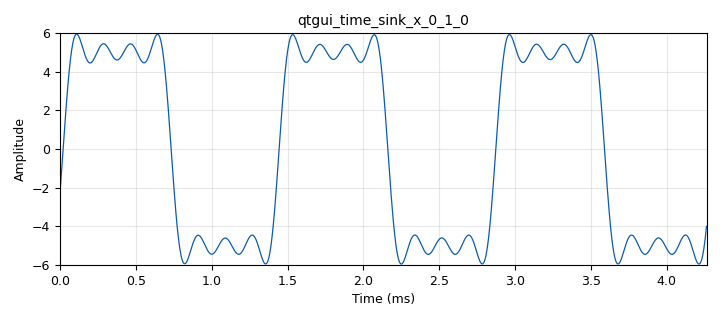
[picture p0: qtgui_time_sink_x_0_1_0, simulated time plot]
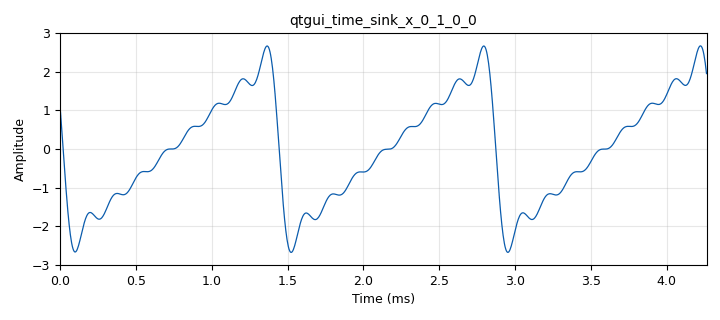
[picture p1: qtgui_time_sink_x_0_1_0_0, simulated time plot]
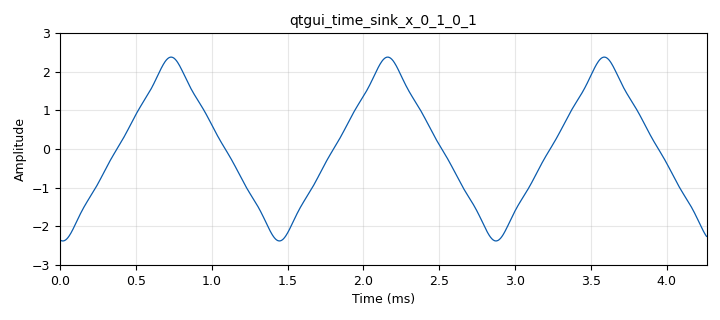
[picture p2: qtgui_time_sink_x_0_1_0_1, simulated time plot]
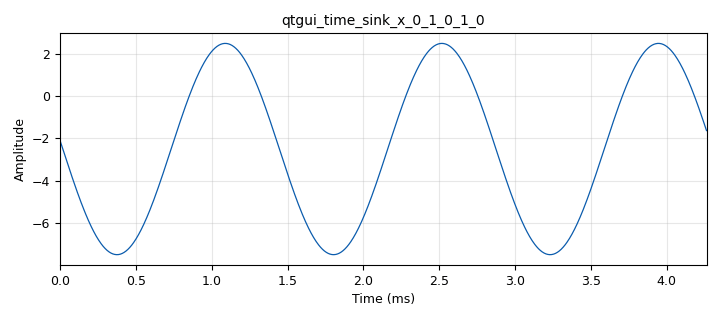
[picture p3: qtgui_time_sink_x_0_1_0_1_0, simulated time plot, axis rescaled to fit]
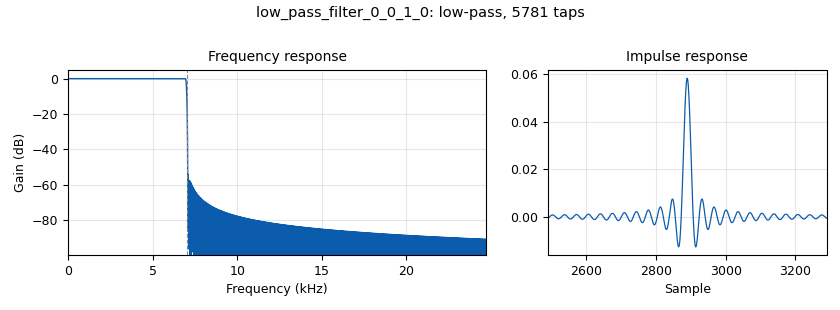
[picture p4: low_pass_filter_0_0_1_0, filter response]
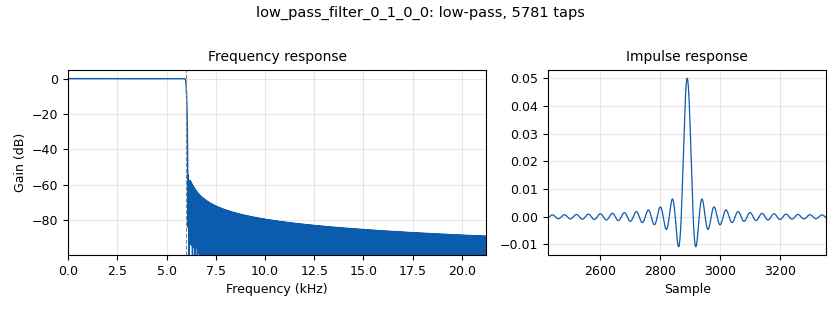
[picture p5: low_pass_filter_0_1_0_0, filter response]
options:
  parameters:
    author: lucas
    generate_options: qt_gui
    id: projeto
    output_language: python
    title: Not titled yet
  states: {}

blocks:
- name: amp
  id: variable_qtgui_range
  parameters:
    start: '0.1'
    step: '1'
    stop: '5'
    value: '5'
  states: {}
- name: amp2
  id: variable_qtgui_range
  parameters:
    start: '0'
    step: '1'
    stop: '5'
    value: '1'
  states: {}
- name: cut
  id: variable_qtgui_range
  parameters:
    start: '0'
    step: '100'
    stop: '14000'
    value: '6000'
  states: {}
- name: freq
  id: variable_qtgui_range
  parameters:
    start: '0'
    step: '100'
    stop: '1000'
    value: '700'
  states: {}
- name: samp_rate
  id: variable
  parameters:
    value: '240000'
  states: {}
- name: analog_sig_source_x_0_0_0_0
  id: analog_sig_source_x
  parameters:
    amp: '2'
    freq: freq
    offset: '-1'
    phase: '0'
    samp_rate: samp_rate
    type: float
    waveform: analog.GR_SAW_WAVE
  states: {}
- name: analog_sig_source_x_0_1_0_0_0
  id: analog_sig_source_x
  parameters:
    amp: amp
    freq: '190000'
    offset: '0'
    phase: '0'
    samp_rate: samp_rate
    type: float
    waveform: analog.GR_COS_WAVE
  states: {}
- name: analog_sig_source_x_0_1_0_0_0_0
  id: analog_sig_source_x
  parameters:
    amp: amp
    freq: '160000'
    offset: '0'
    phase: '0'
    samp_rate: samp_rate
    type: float
    waveform: analog.GR_COS_WAVE
  states: {}
- name: analog_sig_source_x_0_1_2_0_0
  id: analog_sig_source_x
  parameters:
    amp: amp2
    freq: '120000'
    offset: '0'
    phase: '0'
    samp_rate: samp_rate
    type: float
    waveform: analog.GR_COS_WAVE
  states: {}
- name: analog_sig_source_x_0_1_2_0_0_0
  id: analog_sig_source_x
  parameters:
    amp: amp2
    freq: '190000'
    offset: '0'
    phase: '0'
    samp_rate: samp_rate
    type: float
    waveform: analog.GR_COS_WAVE
  states: {}
- name: analog_sig_source_x_0_1_2_0_0_1
  id: analog_sig_source_x
  parameters:
    amp: amp2
    freq: '100000'
    offset: '0'
    phase: '0'
    samp_rate: samp_rate
    type: float
    waveform: analog.GR_COS_WAVE
  states: {}
- name: analog_sig_source_x_0_1_2_0_0_1_0
  id: analog_sig_source_x
  parameters:
    amp: amp2
    freq: '160000'
    offset: '0'
    phase: '0'
    samp_rate: samp_rate
    type: float
    waveform: analog.GR_COS_WAVE
  states: {}
- name: analog_sig_source_x_0_1_3_0
  id: analog_sig_source_x
  parameters:
    amp: amp
    freq: '120000'
    offset: '0'
    phase: '0'
    samp_rate: samp_rate
    type: float
    waveform: analog.GR_COS_WAVE
  states: {}
- name: analog_sig_source_x_0_1_3_0_0
  id: analog_sig_source_x
  parameters:
    amp: amp
    freq: '100000'
    offset: '0'
    phase: '0'
    samp_rate: samp_rate
    type: float
    waveform: analog.GR_COS_WAVE
  states: {}
- name: analog_sig_source_x_0_3_0
  id: analog_sig_source_x
  parameters:
    amp: '2'
    freq: freq
    offset: '-1'
    phase: '0'
    samp_rate: samp_rate
    type: float
    waveform: analog.GR_SQR_WAVE
  states: {}
- name: analog_sig_source_x_0_3_0_0
  id: analog_sig_source_x
  parameters:
    amp: '2'
    freq: freq
    offset: '-1'
    phase: '0'
    samp_rate: samp_rate
    type: float
    waveform: analog.GR_TRI_WAVE
  states: {}
- name: analog_sig_source_x_0_3_0_1
  id: analog_sig_source_x
  parameters:
    amp: '2'
    freq: freq
    offset: '-1'
    phase: '0'
    samp_rate: samp_rate
    type: float
    waveform: analog.GR_SIN_WAVE
  states: {}
- name: blocks_add_xx_0_0_0
  id: blocks_add_xx
  parameters:
    num_inputs: '4'
    type: float
  states: {}
- name: blocks_multiply_xx_0_0_0_0_0
  id: blocks_multiply_xx
  parameters:
    type: float
  states: {}
- name: blocks_multiply_xx_0_0_0_0_0_0
  id: blocks_multiply_xx
  parameters:
    type: float
  states: {}
- name: blocks_multiply_xx_0_0_0_0_0_1
  id: blocks_multiply_xx
  parameters:
    type: float
  states: {}
- name: blocks_multiply_xx_0_0_0_0_0_1_0
  id: blocks_multiply_xx
  parameters:
    type: float
  states: {}
- name: blocks_multiply_xx_0_0_1_0
  id: blocks_multiply_xx
  parameters:
    type: float
  states: {}
- name: blocks_multiply_xx_0_0_1_0_0
  id: blocks_multiply_xx
  parameters:
    type: float
  states: {}
- name: blocks_multiply_xx_0_2_0
  id: blocks_multiply_xx
  parameters:
    type: float
  states: {}
- name: blocks_multiply_xx_0_2_0_0
  id: blocks_multiply_xx
  parameters:
    type: float
  states: {}
- name: blocks_rms_xx_0_0_0_3
  id: blocks_rms_xx
  parameters:
    alpha: '0.0001'
    type: float
  states: {state: disabled}
- name: blocks_rms_xx_0_0_0_3_0
  id: blocks_rms_xx
  parameters:
    alpha: '0.0001'
    type: float
  states: {state: disabled}
- name: blocks_rms_xx_0_0_0_3_1
  id: blocks_rms_xx
  parameters:
    alpha: '0.0001'
    type: float
  states: {state: disabled}
- name: blocks_rms_xx_0_0_0_3_1_0
  id: blocks_rms_xx
  parameters:
    alpha: '0.0001'
    type: float
  states: {state: disabled}
- name: blocks_throttle_0_0_0_1_0
  id: blocks_throttle
  parameters:
    samples_per_second: samp_rate
    type: float
  states: {}
- name: blocks_throttle_0_0_1_0_0
  id: blocks_throttle
  parameters:
    samples_per_second: samp_rate
    type: float
  states: {}
- name: blocks_throttle_0_0_1_0_0_0
  id: blocks_throttle
  parameters:
    samples_per_second: samp_rate
    type: float
  states: {}
- name: blocks_throttle_0_0_2_0
  id: blocks_throttle
  parameters:
    samples_per_second: samp_rate
    type: float
  states: {}
- name: blocks_throttle_0_2_0
  id: blocks_throttle
  parameters:
    samples_per_second: samp_rate
    type: float
  states: {}
- name: blocks_throttle_0_2_0_0
  id: blocks_throttle
  parameters:
    samples_per_second: samp_rate
    type: float
  states: {}
- name: blocks_throttle_0_2_0_1
  id: blocks_throttle
  parameters:
    samples_per_second: samp_rate
    type: float
  states: {}
- name: low_pass_filter_0_0_1_0
  id: low_pass_filter
  parameters:
    cutoff_freq: '7000'
    decim: '1'
    gain: '1'
    samp_rate: samp_rate
    type: fir_filter_fff
    width: '100'
    win: window.WIN_HAMMING
  states: {}
- name: low_pass_filter_0_0_1_0_0
  id: low_pass_filter
  parameters:
    cutoff_freq: '7000'
    decim: '1'
    gain: '1'
    samp_rate: samp_rate
    type: fir_filter_fff
    width: '100'
    win: window.WIN_HAMMING
  states: {}
- name: low_pass_filter_0_0_1_0_0_0
  id: low_pass_filter
  parameters:
    cutoff_freq: '7000'
    decim: '1'
    gain: '1'
    samp_rate: samp_rate
    type: fir_filter_fff
    width: '100'
    win: window.WIN_HAMMING
  states: {}
- name: low_pass_filter_0_0_1_0_1
  id: low_pass_filter
  parameters:
    cutoff_freq: '7000'
    decim: '1'
    gain: '1'
    samp_rate: samp_rate
    type: fir_filter_fff
    width: '100'
    win: window.WIN_HAMMING
  states: {}
- name: low_pass_filter_0_1_0_0
  id: low_pass_filter
  parameters:
    cutoff_freq: cut
    decim: '1'
    gain: '1'
    samp_rate: samp_rate
    type: fir_filter_fff
    width: '100'
    win: window.WIN_HAMMING
  states: {}
- name: low_pass_filter_0_1_0_0_0
  id: low_pass_filter
  parameters:
    cutoff_freq: cut
    decim: '1'
    gain: '1'
    samp_rate: samp_rate
    type: fir_filter_fff
    width: '100'
    win: window.WIN_HAMMING
  states: {}
- name: low_pass_filter_0_1_0_0_1
  id: low_pass_filter
  parameters:
    cutoff_freq: cut
    decim: '1'
    gain: '1'
    samp_rate: samp_rate
    type: fir_filter_fff
    width: '100'
    win: window.WIN_HAMMING
  states: {}
- name: low_pass_filter_0_1_0_0_1_0
  id: low_pass_filter
  parameters:
    cutoff_freq: cut
    decim: '1'
    gain: '1'
    samp_rate: samp_rate
    type: fir_filter_fff
    width: '100'
    win: window.WIN_HAMMING
  states: {}
- name: qtgui_freq_sink_x_0_1_0
  id: qtgui_freq_sink_x
  parameters:
    bw: samp_rate
    fc: '0'
    fftsize: '1024'
    type: float
  states: {state: disabled}
- name: qtgui_freq_sink_x_0_1_0_0
  id: qtgui_freq_sink_x
  parameters:
    bw: samp_rate
    fc: '0'
    fftsize: '1024'
    type: float
  states: {state: disabled}
- name: qtgui_freq_sink_x_0_1_0_1
  id: qtgui_freq_sink_x
  parameters:
    bw: samp_rate
    fc: '0'
    fftsize: '1024'
    type: float
  states: {state: disabled}
- name: qtgui_freq_sink_x_0_1_0_1_0
  id: qtgui_freq_sink_x
  parameters:
    bw: samp_rate
    fc: '0'
    fftsize: '1024'
    type: float
  states: {state: disabled}
- name: qtgui_number_sink_0_0_0_3
  id: qtgui_number_sink
  parameters:
    graph_type: qtgui.NUM_GRAPH_HORIZ
    type: float
  states: {state: disabled}
- name: qtgui_number_sink_0_0_0_3_0
  id: qtgui_number_sink
  parameters:
    graph_type: qtgui.NUM_GRAPH_HORIZ
    type: float
  states: {state: disabled}
- name: qtgui_number_sink_0_0_0_3_1
  id: qtgui_number_sink
  parameters:
    graph_type: qtgui.NUM_GRAPH_HORIZ
    type: float
  states: {state: disabled}
- name: qtgui_number_sink_0_0_0_3_1_0
  id: qtgui_number_sink
  parameters:
    graph_type: qtgui.NUM_GRAPH_HORIZ
    type: float
  states: {state: disabled}
- name: qtgui_time_sink_x_0_1_0
  id: qtgui_time_sink_x
  parameters:
    size: '1024'
    srate: samp_rate
    type: float
    ymax: '6'
    ymin: '-6'
  states: {}
- name: qtgui_time_sink_x_0_1_0_0
  id: qtgui_time_sink_x
  parameters:
    size: '1024'
    srate: samp_rate
    type: float
    ymax: '3'
    ymin: '-3'
  states: {}
- name: qtgui_time_sink_x_0_1_0_1
  id: qtgui_time_sink_x
  parameters:
    size: '1024'
    srate: samp_rate
    type: float
    ymax: '3'
    ymin: '-3'
  states: {}
- name: qtgui_time_sink_x_0_1_0_1_0
  id: qtgui_time_sink_x
  parameters:
    size: '1024'
    srate: samp_rate
    type: float
    ymax: '3'
    ymin: '-3'
  states: {}
- name: virtual_sink_0
  id: virtual_sink
  parameters:
    stream_id: canal
  states: {}
- name: virtual_source_0
  id: virtual_source
  parameters:
    stream_id: canal
  states: {}
- name: virtual_source_0_0
  id: virtual_source
  parameters:
    stream_id: canal
  states: {}
- name: virtual_source_0_1
  id: virtual_source
  parameters:
    stream_id: canal
  states: {}
- name: virtual_source_0_1_0
  id: virtual_source
  parameters:
    stream_id: canal
  states: {}

connections:
- [analog_sig_source_x_0_0_0_0, '0', blocks_throttle_0_0_2_0, '0']
- [analog_sig_source_x_0_1_0_0_0, '0', blocks_throttle_0_0_1_0_0, '0']
- [analog_sig_source_x_0_1_0_0_0_0, '0', blocks_throttle_0_0_1_0_0_0, '0']
- [analog_sig_source_x_0_1_2_0_0, '0', blocks_multiply_xx_0_0_0_0_0, '1']
- [analog_sig_source_x_0_1_2_0_0_0, '0', blocks_multiply_xx_0_0_0_0_0_0, '1']
- [analog_sig_source_x_0_1_2_0_0_1, '0', blocks_multiply_xx_0_0_0_0_0_1, '1']
- [analog_sig_source_x_0_1_2_0_0_1_0, '0', blocks_multiply_xx_0_0_0_0_0_1_0, '1']
- [analog_sig_source_x_0_1_3_0, '0', blocks_throttle_0_0_0_1_0, '0']
- [analog_sig_source_x_0_1_3_0_0, '0', blocks_multiply_xx_0_0_1_0_0, '1']
- [analog_sig_source_x_0_3_0, '0', blocks_throttle_0_2_0, '0']
- [analog_sig_source_x_0_3_0_0, '0', blocks_throttle_0_2_0_0, '0']
- [analog_sig_source_x_0_3_0_1, '0', blocks_throttle_0_2_0_1, '0']
- [blocks_add_xx_0_0_0, '0', virtual_sink_0, '0']
- [blocks_multiply_xx_0_0_0_0_0, '0', low_pass_filter_0_1_0_0, '0']
- [blocks_multiply_xx_0_0_0_0_0_0, '0', low_pass_filter_0_1_0_0_0, '0']
- [blocks_multiply_xx_0_0_0_0_0_1, '0', low_pass_filter_0_1_0_0_1, '0']
- [blocks_multiply_xx_0_0_0_0_0_1_0, '0', low_pass_filter_0_1_0_0_1_0, '0']
- [blocks_multiply_xx_0_0_1_0, '0', blocks_add_xx_0_0_0, '1']
- [blocks_multiply_xx_0_0_1_0_0, '0', blocks_add_xx_0_0_0, '2']
- [blocks_multiply_xx_0_2_0, '0', blocks_add_xx_0_0_0, '0']
- [blocks_multiply_xx_0_2_0_0, '0', blocks_add_xx_0_0_0, '3']
- [blocks_rms_xx_0_0_0_3, '0', qtgui_number_sink_0_0_0_3, '0']
- [blocks_rms_xx_0_0_0_3_0, '0', qtgui_number_sink_0_0_0_3_0, '0']
- [blocks_rms_xx_0_0_0_3_1, '0', qtgui_number_sink_0_0_0_3_1, '0']
- [blocks_rms_xx_0_0_0_3_1_0, '0', qtgui_number_sink_0_0_0_3_1_0, '0']
- [blocks_throttle_0_0_0_1_0, '0', blocks_multiply_xx_0_2_0, '1']
- [blocks_throttle_0_0_1_0_0, '0', blocks_multiply_xx_0_0_1_0, '1']
- [blocks_throttle_0_0_1_0_0_0, '0', blocks_multiply_xx_0_2_0_0, '1']
- [blocks_throttle_0_0_2_0, '0', low_pass_filter_0_0_1_0_0_0, '0']
- [blocks_throttle_0_2_0, '0', low_pass_filter_0_0_1_0, '0']
- [blocks_throttle_0_2_0_0, '0', low_pass_filter_0_0_1_0_0, '0']
- [blocks_throttle_0_2_0_1, '0', low_pass_filter_0_0_1_0_1, '0']
- [low_pass_filter_0_0_1_0, '0', blocks_multiply_xx_0_2_0, '0']
- [low_pass_filter_0_0_1_0_0, '0', blocks_multiply_xx_0_0_1_0_0, '0']
- [low_pass_filter_0_0_1_0_0_0, '0', blocks_multiply_xx_0_0_1_0, '0']
- [low_pass_filter_0_0_1_0_1, '0', blocks_multiply_xx_0_2_0_0, '0']
- [low_pass_filter_0_1_0_0, '0', blocks_rms_xx_0_0_0_3, '0']
- [low_pass_filter_0_1_0_0, '0', qtgui_freq_sink_x_0_1_0, '0']
- [low_pass_filter_0_1_0_0, '0', qtgui_time_sink_x_0_1_0, '0']
- [low_pass_filter_0_1_0_0_0, '0', blocks_rms_xx_0_0_0_3_0, '0']
- [low_pass_filter_0_1_0_0_0, '0', qtgui_freq_sink_x_0_1_0_0, '0']
- [low_pass_filter_0_1_0_0_0, '0', qtgui_time_sink_x_0_1_0_0, '0']
- [low_pass_filter_0_1_0_0_1, '0', blocks_rms_xx_0_0_0_3_1, '0']
- [low_pass_filter_0_1_0_0_1, '0', qtgui_freq_sink_x_0_1_0_1, '0']
- [low_pass_filter_0_1_0_0_1, '0', qtgui_time_sink_x_0_1_0_1, '0']
- [low_pass_filter_0_1_0_0_1_0, '0', blocks_rms_xx_0_0_0_3_1_0, '0']
- [low_pass_filter_0_1_0_0_1_0, '0', qtgui_freq_sink_x_0_1_0_1_0, '0']
- [low_pass_filter_0_1_0_0_1_0, '0', qtgui_time_sink_x_0_1_0_1_0, '0']
- [virtual_source_0, '0', blocks_multiply_xx_0_0_0_0_0, '0']
- [virtual_source_0_0, '0', blocks_multiply_xx_0_0_0_0_0_0, '0']
- [virtual_source_0_1, '0', blocks_multiply_xx_0_0_0_0_0_1, '0']
- [virtual_source_0_1_0, '0', blocks_multiply_xx_0_0_0_0_0_1_0, '0']

metadata:
  file_format: 1
